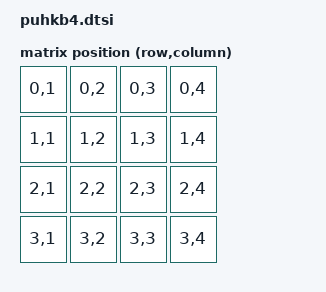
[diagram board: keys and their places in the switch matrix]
/*
 * Copyright (c) 2020 Pete Johanson, Ryan Cross
 *
 * SPDX-License-Identifier: MIT
 */

#include <dt-bindings/zmk/matrix_transform.h>
#include "puhkb4-layout.dtsi"

/ {
    chosen {
        zmk,kscan = &kscan0;
        zmk,physical-layouts = &physical_layout0;
    };

    matrix_transform0: keymap_transform_0 {
        compatible = "zmk,matrix-transform";
        columns = <4>;
        rows = <4>;
// | SW1  | SW2  | SW3  | SW4  |
// | SW5  | SW6  | SW7  | SW8  |
// | SW9  | SW10 | SW11 | SW12 |
// | SW13 | SW14 | SW15 | SW16 |
        map = <
RC(0,1) RC(0,2) RC(0,3) RC(0,4)
RC(1,1) RC(1,2) RC(1,3) RC(1,4)
RC(2,1) RC(2,2) RC(2,3) RC(2,4)
RC(3,1) RC(3,2) RC(3,3) RC(3,4)
        >;
    };
	
	kscan0: kscan {
        compatible = "zmk,kscan-gpio-matrix";
        wakeup-source;
        diode-direction = "col2row";
    };
};
